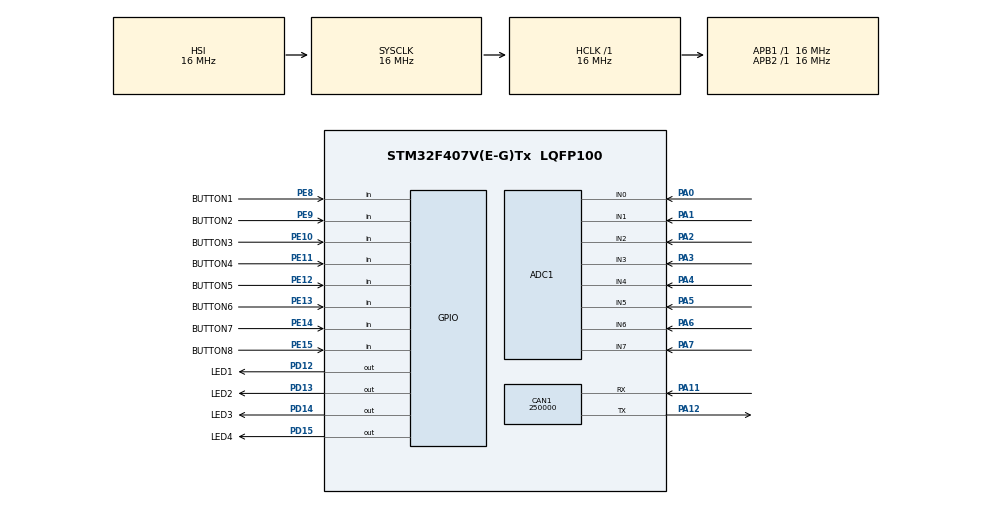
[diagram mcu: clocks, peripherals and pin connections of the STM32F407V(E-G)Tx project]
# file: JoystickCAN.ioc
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ADC1.Channel-0\#ChannelRegularConversion=ADC_CHANNEL_0
ADC1.NbrOfConversionFlag=1
ADC1.Rank-0\#ChannelRegularConversion=1
ADC1.SamplingTime-0\#ChannelRegularConversion=ADC_SAMPLETIME_3CYCLES
ADC1.master=1
CAN1.BS1=CAN_BS1_2TQ
CAN1.CalculateBaudRate=250000
CAN1.CalculateTimeBit=4000
CAN1.CalculateTimeQuantum=1000.0
CAN1.SJW=CAN_SJW_1TQ
Mcu.Family=STM32F4
Mcu.Name=STM32F407V(E-G)Tx
Mcu.Package=LQFP100
NVIC.ADC_IRQn=true\:0\:0\:false\:false\:true\:true\:true\:true
NVIC.CAN1_RX0_IRQn=true\:0\:0\:false\:false\:true\:true\:true\:true
NVIC.CAN1_RX1_IRQn=true\:0\:0\:false\:false\:true\:true\:true\:true
NVIC.PriorityGroup=NVIC_PRIORITYGROUP_4
PA0-WKUP.Signal=ADCx_IN0
PA1.Signal=ADCx_IN1
PA11.Mode=CAN_Activate
PA11.Signal=CAN1_RX
PA12.Mode=CAN_Activate
PA12.Signal=CAN1_TX
PA13.Mode=Serial_Wire
PA13.Signal=SYS_JTMS-SWDIO
PA14.Mode=Serial_Wire
PA14.Signal=SYS_JTCK-SWCLK
PA2.Signal=ADCx_IN2
PA3.Signal=ADCx_IN3
PA4.Signal=ADCx_IN4
PA5.Signal=ADCx_IN5
PA6.Signal=ADCx_IN6
PA7.Signal=ADCx_IN7
PD12.GPIO_Label=LED1
PD12.Signal=GPIO_Output
PD13.GPIO_Label=LED2
PD13.Signal=GPIO_Output
PD14.GPIO_Label=LED3
PD14.Signal=GPIO_Output
PD15.GPIO_Label=LED4
PD15.Signal=GPIO_Output
PE10.GPIO_Label=BUTTON3
PE10.Signal=GPIO_Input
PE11.GPIO_Label=BUTTON4
PE11.Signal=GPIO_Input
PE12.GPIO_Label=BUTTON5
PE12.Signal=GPIO_Input
PE13.GPIO_Label=BUTTON6
PE13.Signal=GPIO_Input
PE14.GPIO_Label=BUTTON7
PE14.Signal=GPIO_Input
PE15.GPIO_Label=BUTTON8
PE15.Signal=GPIO_Input
PE8.GPIO_Label=BUTTON1
PE8.Signal=GPIO_Input
PE9.GPIO_Label=BUTTON2
PE9.Signal=GPIO_Input
PH0-OSC_IN.Mode=HSE-External-Oscillator
PH0-OSC_IN.Signal=RCC_OSC_IN
PH1-OSC_OUT.Mode=HSE-External-Oscillator
PH1-OSC_OUT.Signal=RCC_OSC_OUT
ProjectManager.HeapSize=0x200
ProjectManager.StackSize=0x400
ProjectManager.TargetToolchain=STM32CubeIDE
RCC.48MHZClocksFreq_Value=24000000
RCC.AHBFreq_Value=16000000
RCC.APB1Freq_Value=16000000
RCC.APB2Freq_Value=16000000
RCC.CortexFreq_Value=16000000
RCC.HSE_VALUE=8000000
RCC.HSI_VALUE=16000000
RCC.LSE_VALUE=32768
RCC.PLLSourceVirtual=RCC_PLLSOURCE_HSE
RCC.SYSCLKFreq_VALUE=16000000
RCC.VCOOutputFreq_Value=96000000
SH.ADCx_IN0.0=ADC1_IN0,IN0
SH.ADCx_IN1.0=ADC1_IN1,IN1
SH.ADCx_IN2.0=ADC1_IN2,IN2
SH.ADCx_IN3.0=ADC1_IN3,IN3
SH.ADCx_IN4.0=ADC1_IN4,IN4
SH.ADCx_IN5.0=ADC1_IN5,IN5
SH.ADCx_IN6.0=ADC1_IN6,IN6
SH.ADCx_IN7.0=ADC1_IN7,IN7
board=custom

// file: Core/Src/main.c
/* USER CODE BEGIN Header */
/**
  ******************************************************************************
  * @file           : main.c
  * @brief          : Main program body
  ******************************************************************************
  * @attention
  *
  * Copyright (c) 2023 STMicroelectronics.
  * All rights reserved.
  *
  * This software is licensed under terms that can be found in the LICENSE file
  * in the root directory of this software component.
  * If no LICENSE file comes with this software, it is provided AS-IS.
  *
  ******************************************************************************
  */
/* USER CODE END Header */
#include "main.h"

ADC_HandleTypeDef hadc1;

CAN_HandleTypeDef hcan1;

void SystemClock_Config(void);
static void MX_GPIO_Init(void);
static void MX_ADC1_Init(void);
static void MX_CAN1_Init(void);

int main(void)
{

  /* MCU Configuration--------------------------------------------------------*/

  /* Reset of all peripherals, Initializes the Flash interface and the Systick. */
  HAL_Init();

  /* Configure the system clock */
  SystemClock_Config();

  /* Initialize all configured peripherals */
  MX_GPIO_Init();
  MX_ADC1_Init();
  MX_CAN1_Init();

  /* Infinite loop */
  while (1)
  {
<<<<<<< HEAD
    /* USER CODE BEGIN 3 */
	for (int i = 0; i < 8; ++i) {
	  ADC_Select_CH(i);
	  HAL_ADC_Start(&hadc1);
	  HAL_ADC_PollForConversion(&hadc1, 100);
	  ADC_VAL[i] = HAL_ADC_GetValue(&hadc1);
	  HAL_ADC_Stop(&hadc1);
	}

	BUTTON_VAL[0] = HAL_GPIO_ReadPin(BUTTON1_GPIO_Port, BUTTON1_Pin);
	BUTTON_VAL[1] = HAL_GPIO_ReadPin(BUTTON2_GPIO_Port, BUTTON2_Pin);
	BUTTON_VAL[2] = HAL_GPIO_ReadPin(BUTTON3_GPIO_Port, BUTTON3_Pin);
	BUTTON_VAL[3] = HAL_GPIO_ReadPin(BUTTON4_GPIO_Port, BUTTON4_Pin);
	BUTTON_VAL[4] = HAL_GPIO_ReadPin(BUTTON5_GPIO_Port, BUTTON5_Pin);
	BUTTON_VAL[5] = HAL_GPIO_ReadPin(BUTTON6_GPIO_Port, BUTTON6_Pin);
	BUTTON_VAL[6] = HAL_GPIO_ReadPin(BUTTON7_GPIO_Port, BUTTON7_Pin);
	BUTTON_VAL[7] = HAL_GPIO_ReadPin(BUTTON8_GPIO_Port, BUTTON8_Pin);

	HAL_GPIO_TogglePin(LED1_GPIO_Port, LED1_Pin);
	HAL_GPIO_TogglePin(LED2_GPIO_Port, LED2_Pin);
	HAL_GPIO_TogglePin(LED3_GPIO_Port, LED3_Pin);
	HAL_GPIO_TogglePin(LED4_GPIO_Port, LED4_Pin);

	HAL_Delay(500);
=======

    /* USER CODE BEGIN 3 */
>>>>>>> parent of 89ec8c7 (Add Timer3)
  }
  /* USER CODE END 3 */
}

void SystemClock_Config(void)
{
  RCC_OscInitTypeDef RCC_OscInitStruct = {0};
  RCC_ClkInitTypeDef RCC_ClkInitStruct = {0};

  /** Configure the main internal regulator output voltage
  */
  __HAL_RCC_PWR_CLK_ENABLE();
  __HAL_PWR_VOLTAGESCALING_CONFIG(PWR_REGULATOR_VOLTAGE_SCALE1);

  /** Initializes the RCC Oscillators according to the specified parameters
  * in the RCC_OscInitTypeDef structure.
  */
  RCC_OscInitStruct.OscillatorType = RCC_OSCILLATORTYPE_HSI;
  RCC_OscInitStruct.HSIState = RCC_HSI_ON;
  RCC_OscInitStruct.HSICalibrationValue = RCC_HSICALIBRATION_DEFAULT;
  RCC_OscInitStruct.PLL.PLLState = RCC_PLL_NONE;
  if (HAL_RCC_OscConfig(&RCC_OscInitStruct) != HAL_OK)
  {
    Error_Handler();
  }

  /** Initializes the CPU, AHB and APB buses clocks
  */
  RCC_ClkInitStruct.ClockType = RCC_CLOCKTYPE_HCLK|RCC_CLOCKTYPE_SYSCLK
                              |RCC_CLOCKTYPE_PCLK1|RCC_CLOCKTYPE_PCLK2;
  RCC_ClkInitStruct.SYSCLKSource = RCC_SYSCLKSOURCE_HSI;
  RCC_ClkInitStruct.AHBCLKDivider = RCC_SYSCLK_DIV1;
  RCC_ClkInitStruct.APB1CLKDivider = RCC_HCLK_DIV1;
  RCC_ClkInitStruct.APB2CLKDivider = RCC_HCLK_DIV1;

  if (HAL_RCC_ClockConfig(&RCC_ClkInitStruct, FLASH_LATENCY_0) != HAL_OK)
  {
    Error_Handler();
  }
}

static void MX_ADC1_Init(void)
{

  ADC_ChannelConfTypeDef sConfig = {0};

  /** Configure the global features of the ADC (Clock, Resolution, Data Alignment and number of conversion)
  */
  hadc1.Instance = ADC1;
  hadc1.Init.ClockPrescaler = ADC_CLOCK_SYNC_PCLK_DIV2;
  hadc1.Init.Resolution = ADC_RESOLUTION_12B;
  hadc1.Init.ScanConvMode = DISABLE;
  hadc1.Init.ContinuousConvMode = DISABLE;
  hadc1.Init.DiscontinuousConvMode = DISABLE;
  hadc1.Init.ExternalTrigConvEdge = ADC_EXTERNALTRIGCONVEDGE_NONE;
  hadc1.Init.ExternalTrigConv = ADC_SOFTWARE_START;
  hadc1.Init.DataAlign = ADC_DATAALIGN_RIGHT;
  hadc1.Init.NbrOfConversion = 1;
  hadc1.Init.DMAContinuousRequests = DISABLE;
  hadc1.Init.EOCSelection = ADC_EOC_SINGLE_CONV;
  if (HAL_ADC_Init(&hadc1) != HAL_OK)
  {
    Error_Handler();
  }

  /** Configure for the selected ADC regular channel its corresponding rank in the sequencer and its sample time.
  */
  sConfig.Channel = ADC_CHANNEL_0;
  sConfig.Rank = 1;
  sConfig.SamplingTime = ADC_SAMPLETIME_3CYCLES;
  if (HAL_ADC_ConfigChannel(&hadc1, &sConfig) != HAL_OK)
  {
    Error_Handler();
  }

}

static void MX_CAN1_Init(void)
{

  hcan1.Instance = CAN1;
  hcan1.Init.Prescaler = 16;
  hcan1.Init.Mode = CAN_MODE_NORMAL;
  hcan1.Init.SyncJumpWidth = CAN_SJW_1TQ;
  hcan1.Init.TimeSeg1 = CAN_BS1_2TQ;
  hcan1.Init.TimeSeg2 = CAN_BS2_1TQ;
  hcan1.Init.TimeTriggeredMode = DISABLE;
  hcan1.Init.AutoBusOff = DISABLE;
  hcan1.Init.AutoWakeUp = DISABLE;
  hcan1.Init.AutoRetransmission = DISABLE;
  hcan1.Init.ReceiveFifoLocked = DISABLE;
  hcan1.Init.TransmitFifoPriority = DISABLE;
  if (HAL_CAN_Init(&hcan1) != HAL_OK)
  {
    Error_Handler();
  }

}

static void MX_GPIO_Init(void)
{
  GPIO_InitTypeDef GPIO_InitStruct = {0};

  /* GPIO Ports Clock Enable */
  __HAL_RCC_GPIOH_CLK_ENABLE();
  __HAL_RCC_GPIOA_CLK_ENABLE();
  __HAL_RCC_GPIOE_CLK_ENABLE();
  __HAL_RCC_GPIOD_CLK_ENABLE();

  /*Configure GPIO pin Output Level */
  HAL_GPIO_WritePin(GPIOD, LED1_Pin|LED2_Pin|LED3_Pin|LED4_Pin, GPIO_PIN_RESET);

  /*Configure GPIO pins : BUTTON1_Pin BUTTON2_Pin BUTTON3_Pin BUTTON4_Pin
                           BUTTON5_Pin BUTTON6_Pin BUTTON7_Pin BUTTON8_Pin */
  GPIO_InitStruct.Pin = BUTTON1_Pin|BUTTON2_Pin|BUTTON3_Pin|BUTTON4_Pin
                          |BUTTON5_Pin|BUTTON6_Pin|BUTTON7_Pin|BUTTON8_Pin;
  GPIO_InitStruct.Mode = GPIO_MODE_INPUT;
  GPIO_InitStruct.Pull = GPIO_NOPULL;
  HAL_GPIO_Init(GPIOE, &GPIO_InitStruct);

  /*Configure GPIO pins : LED1_Pin LED2_Pin LED3_Pin LED4_Pin */
  GPIO_InitStruct.Pin = LED1_Pin|LED2_Pin|LED3_Pin|LED4_Pin;
  GPIO_InitStruct.Mode = GPIO_MODE_OUTPUT_PP;
  GPIO_InitStruct.Pull = GPIO_NOPULL;
  GPIO_InitStruct.Speed = GPIO_SPEED_FREQ_LOW;
  HAL_GPIO_Init(GPIOD, &GPIO_InitStruct);

}

/* USER CODE BEGIN 4 */

<<<<<<< HEAD
	sConfig.Rank = chNo+1;
	sConfig.SamplingTime = ADC_SAMPLETIME_28CYCLES;
	if (HAL_ADC_ConfigChannel(&hadc1, &sConfig) != HAL_OK)
	{
	Error_Handler();
	}
}

void HAL_TIM_PeriodElapsedCallback(TIM_HandleTypeDef *htim)
{
	if (htim == &htim3) {
		CAN_TxHeaderTypeDef TxHeader;
		uint32_t TxMailbox;

		uint8_t msg[8];

		TxHeader.DLC = 8;
		TxHeader.StdId = 0x200;
		TxHeader.IDE   = CAN_ID_STD;
		TxHeader.RTR = CAN_RTR_DATA;

		msg[0] = (uint8_t)(ADC_VAL[0]);
		msg[1] = (uint8_t)(ADC_VAL[0] >> 8);
		msg[2] = (uint8_t)(ADC_VAL[1]);
		msg[3] = (uint8_t)(ADC_VAL[1] >> 8);
		msg[4] = (uint8_t)(ADC_VAL[2]);
		msg[5] = (uint8_t)(ADC_VAL[2] >> 8);
		msg[6] = (uint8_t)(ADC_VAL[3]);
		msg[7] = (uint8_t)(ADC_VAL[3] >> 8);

		if( HAL_CAN_AddTxMessage(&hcan1,&TxHeader,&msg,&TxMailbox) != HAL_OK)
		{
			Error_Handler();
		}

		TxHeader.DLC = 8;
		TxHeader.StdId = 0x201;
		TxHeader.IDE   = CAN_ID_STD;
		TxHeader.RTR = CAN_RTR_DATA;

		msg[0] = (uint8_t)(ADC_VAL[4]);
		msg[1] = (uint8_t)(ADC_VAL[4] >> 8);
		msg[2] = (uint8_t)(ADC_VAL[5]);
		msg[3] = (uint8_t)(ADC_VAL[5] >> 8);
		msg[4] = (uint8_t)(ADC_VAL[6]);
		msg[5] = (uint8_t)(ADC_VAL[6] >> 8);
		msg[6] = (uint8_t)(ADC_VAL[7]);
		msg[7] = (uint8_t)(ADC_VAL[7] >> 8);

		if( HAL_CAN_AddTxMessage(&hcan1,&TxHeader,&msg,&TxMailbox) != HAL_OK)
		{
			Error_Handler();
		}

		uint8_t btn_state;
		TxHeader.DLC = 1;
		TxHeader.StdId = 0x202;
		TxHeader.IDE   = CAN_ID_STD;
		TxHeader.RTR = CAN_RTR_DATA;

		for (int i = 0; i < 8; ++i) {
			btn_state |= (BUTTON_VAL[i]<<i);
		}

		if( HAL_CAN_AddTxMessage(&hcan1,&TxHeader,&btn_state,&TxMailbox) != HAL_OK)
		{
			Error_Handler();
		}

	}
}
=======
>>>>>>> parent of 89ec8c7 (Add Timer3)
/* USER CODE END 4 */

void Error_Handler(void)
{
  __disable_irq();
  while (1)
  {
  }
}
